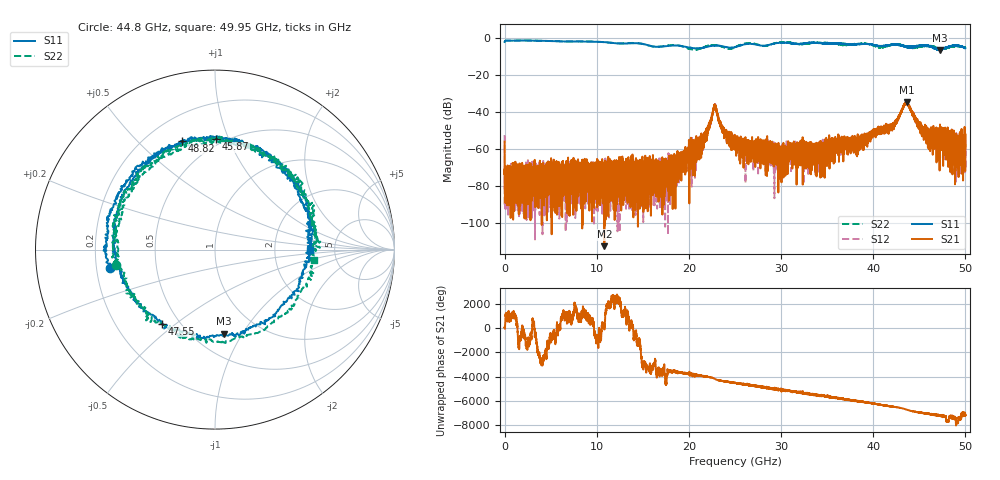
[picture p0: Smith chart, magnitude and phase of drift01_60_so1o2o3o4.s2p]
!Created with skrf (http://scikit-rf.org).
# Hz S RI R 50.0
!freq ReS11 ImS11 ReS21 ImS21 ReS12 ImS12 ReS22 ImS22
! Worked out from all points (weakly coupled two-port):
!   10001 points, 300 kHz to 50 GHz, reference 50 ohm
!   highest |S21| = -34.74 dB at 43.64 GHz (marker M1); lowest = -112.8 dB at 10.82 GHz (marker M2)
!   lowest |S11| = -6.5 dB at 47.26 GHz (marker M3), VSWR 2.78, Z = 34.6 - j41.7 ohm
!   |S11| at or under -10 dB: nowhere
!   |S22| runs from -6.4 to -1.4 dB; largest |S21 - S12| = 0.0041
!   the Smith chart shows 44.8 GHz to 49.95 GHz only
!   S11 on the Smith chart (normalised r, x): 44.8 GHz: 0.25, -0.08; 45.87 GHz: 0.45, +0.90; 47.55 GHz: 0.40, -0.45; 48.82 GHz: 0.34, +0.69; 49.95 GHz: 3.25, -0.02
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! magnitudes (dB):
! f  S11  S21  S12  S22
! 300 kHz  -2.1  -56.2  -52.6  -2.2
! 265.3 MHz  -1.4  -90.6  -70.5  -1.4
! 8.335 GHz  -1.9  -76.3  -72.4  -1.8
! 10.82 GHz  -2.3  -112.8  -83.0  -2.3
! 16.67 GHz  -4.8  -74.8  -79.7  -4.8
! 20.54 GHz  -5.5  -63.7  -60.3  -6.3
! 21.57 GHz  -5.3  -55.8  -53.7  -5.0
! 22.79 GHz  -4.3  -36.2  -36.4  -4.0
! 23.74 GHz  -4.6  -50.0  -50.4  -4.9
! 25 GHz  -5.0  -54.5  -53.5  -5.0
! 29.89 GHz  -2.6  -60.7  -61.3  -2.4
! 33.34 GHz  -2.6  -63.7  -60.1  -2.7
! 38.3 GHz  -3.5  -59.7  -56.4  -3.3
! 41.67 GHz  -3.9  -49.4  -49.8  -4.2
! 43.64 GHz  -5.0  -34.7  -35.3  -4.9
! 44.8 GHz  -4.5  -48.0  -45.6  -5.1
! 45.87 GHz  -4.2  -54.1  -51.4  -4.3
! 47.26 GHz  -6.5  -51.9  -65.0  -5.9
! 47.55 GHz  -5.9  -56.0  -53.1  -5.6
! 48.82 GHz  -4.0  -55.0  -56.4  -4.5
! 49.95 GHz  -5.5  -71.2  -62.0  -5.1
! 50 GHz  -5.6  -59.8  -57.6  -5.2
